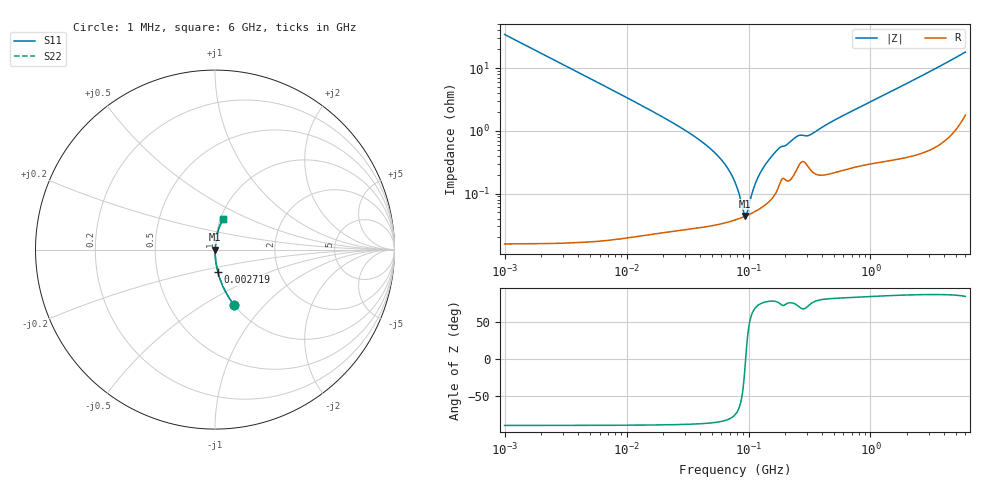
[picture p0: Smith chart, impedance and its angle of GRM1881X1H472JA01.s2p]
!Murata Part Number: GRM1881X1H472JA01
!These Parameters are Measured in Series Mode Connection
!Data Generated on Mar 30, 2021
!  o--ll--o
!Port1  Port2
!  o------o
!Operation Temp=25[degC], DC Bias Voltage=0[V]
!Freq. Start=1000[kHz] Stop=6[GHz] 401[Steps]
# Hz S RI R 50
!Freq.(Hz) S11(Real) S11(Imag) S21(Real) S21(Imag) S12(Real) S12(Imag) S22(Real) S22(Imag)
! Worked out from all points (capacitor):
!   401 points, 1 MHz to 6 GHz, reference 50 ohm
!   read as one part in series: C = 4.61 nF near 1.044 MHz
!   lowest |Z| = 43.8 mohm at 94.21 MHz (marker M1)
!   series resonance near 94.73 MHz, so ESL is about 610 pH
!   S11 on the Smith chart (normalised r, x): 1 MHz: 1.00, -0.69; 2.719 MHz: 1.00, -0.25; 6 GHz: 1.04, +0.36
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1000000  0.1065 -0.3082  0.8935 0.3082  0.8935 0.3082  0.1065 -0.3082
2719490  0.016 -0.1247  0.984 0.1247  0.984 0.1247  0.016 -0.1247
4293785  0.00655 -0.0796  0.9935 0.0796  0.9935 0.0796  0.00655 -0.0796
1.843659e7  0.000554 -0.0179  0.9994 0.0179  0.9994 0.0179  0.000554 -0.0179
3.316698e7  0.000353 -0.00909  0.9996 0.00909  0.9996 0.00909  0.000353 -0.00909
4.905945e7  0.000331 -0.00513  0.9997 0.00513  0.9997 0.00513  0.000331 -0.00513
6.368941e7  0.000348 -0.00296  0.9997 0.00296  0.9997 0.00296  0.000348 -0.00296
7.745967e7  0.000381 -0.00147  0.9996 0.00147  0.9996 0.00147  0.000381 -0.00147
8.268215e7  0.000396 -0.000992  0.9996 0.000992  0.9996 0.000992  0.000396 -0.000992
9.019724e7  0.000421 -0.000357  0.9996 0.000357  0.9996 0.000357  0.000421 -0.000357
9.420718e7  0.000436 -3.97e-05  0.9996 3.97e-05  0.9996 3.97e-05  0.000436 -3.97e-05
9.83954e7  0.000453 0.000278  0.9995 -0.000278  0.9995 -0.000278  0.000453 0.000278
1.096987e8  0.000503 0.00108  0.9995 -0.00108  0.9995 -0.00108  0.000503 0.00108
1.196694e8  0.000554 0.00173  0.9994 -0.00173  0.9994 -0.00173  0.000554 0.00173
1.363501e8  0.00066 0.00275  0.9993 -0.00275  0.9993 -0.00275  0.00066 0.00275
1.587717e8  0.000887 0.00407  0.9991 -0.00407  0.9991 -0.00407  0.000887 0.00407
1.809028e8  0.00147 0.00523  0.9985 -0.00523  0.9985 -0.00523  0.00147 0.00523
2.506837e8  0.00255 0.00778  0.9974 -0.00778  0.9974 -0.00778  0.00255 0.00778
3.325952e8  0.0023 0.00871  0.9977 -0.00871  0.9977 -0.00871  0.0023 0.00871
5.251325e8  0.00242 0.0152  0.9976 -0.0152  0.9976 -0.0152  0.00242 0.0152
1.428092e9  0.005 0.0407  0.995 -0.0407  0.995 -0.0407  0.005 0.0407
6e9  0.0473 0.1684  0.9527 -0.1684  0.9527 -0.1684  0.0473 0.1684
